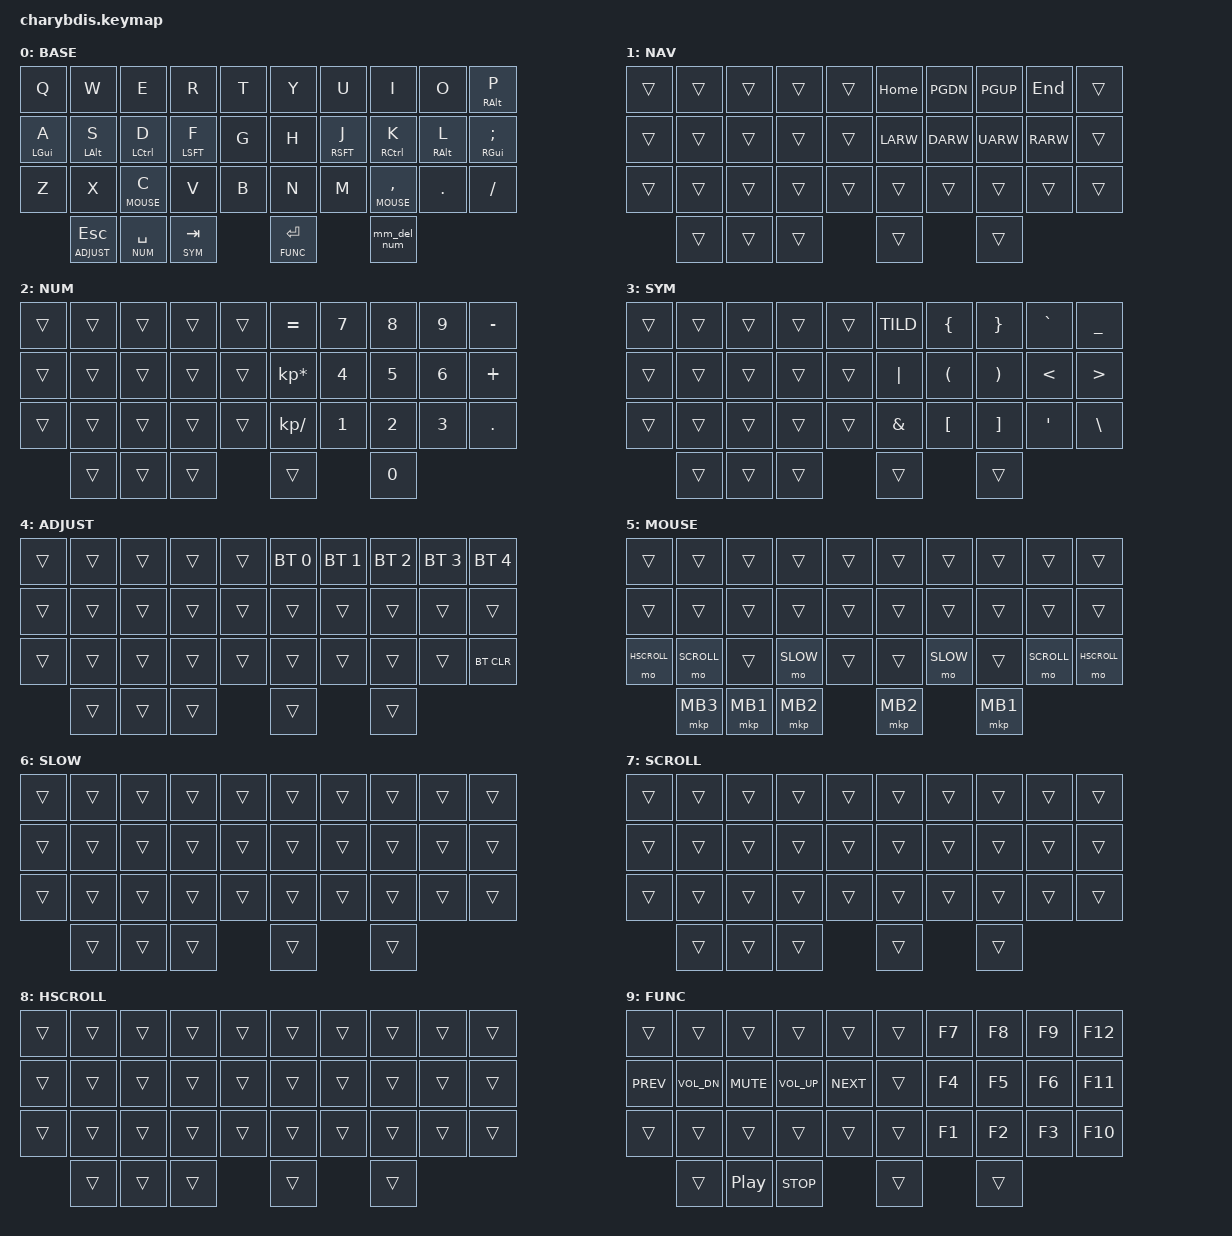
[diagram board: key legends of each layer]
#include <behaviors.dtsi>
#include <dt-bindings/zmk/bt.h>
#include <dt-bindings/zmk/keys.h>
#include <dt-bindings/zmk/mouse.h>
#include <dt-bindings/zmk/outputs.h>
#include <dt-bindings/zmk/input_transform.h>

#include <behaviors/mouse_keys.dtsi>
#include <dt-bindings/zmk/ext_power.h>

#include <input/processors.dtsi>
#include <input/processors/report_rate_limit.dtsi>
#include <input/processors/xyz.dtsi>


#include "zmk-helpers/helper.h"
#include "zmk-helpers/key-labels/36.h"                                      // Source key-labels.
#define KEYS_L LT0 LT1 LT2 LT3 LT4 LM0 LM1 LM2 LM3 LM4 LB0 LB1 LB2 LB3 LB4  // Left-hand keys.
#define KEYS_R RT0 RT1 RT2 RT3 RT4 RM0 RM1 RM2 RM3 RM4 RB0 RB1 RB2 RB3 RB4  // Right-hand keys.
#define THUMBS LH2 LH1 LH0 RH0 RH1 RH2                                      // Thumb keys.


#define BASE    0
#define NAV     1
#define NUM     2
#define SYM     3
#define ADJUST  4

#define MOUSE   5
#define SLOW    6
#define SCROLL  7
#define HSCROLL  8

#define FUNC  9


ZMK_MOD_MORPH(mm_lbracket_brace,
    bindings = <&kp LBKT>, <&kp LBRC>;
    mods = <(MOD_LCTL)>;
)

ZMK_MOD_MORPH(mm_lbracket,
    bindings = <&kp LPRN>, <&mm_lbracket_brace>;
    mods = <(MOD_LSFT)>;
)

ZMK_MOD_MORPH(mm_rbracket_brace,
    bindings = <&kp RBKT>, <&kp RBRC>;
    mods = <(MOD_LCTL)>;
)

ZMK_MOD_MORPH(mm_rbracket,
    bindings = <&kp RPRN>, <&mm_rbracket_brace>;
    mods = <(MOD_LSFT)>;
)

ZMK_MOD_MORPH(mm_del_num,
    bindings = <&lt NAV BSPC>, <&kp DEL>;
    mods = <(MOD_RSFT)>;
)

#include "combos.dtsi" // Must be sourced after HRM-combo hack.


/ {

    xy_transf: xy_transf {
            compatible = "zmk,input-processor-transform";
            #input-processor-cells = <1>;
            type = <INPUT_EV_REL>;
            x-codes = <INPUT_REL_X>, <INPUT_REL_WHEEL>;
            y-codes = <INPUT_REL_Y>, <INPUT_REL_HWHEEL>;
    };
    xy_scaler: xy_scaler {
            compatible = "zmk,input-processor-scaler";
            #input-processor-cells = <2>;
            type = <INPUT_EV_REL>;
            codes = <INPUT_REL_X>, <INPUT_REL_Y>;
            track-remainders;
    };
    x_scaler: x_scaler {
            compatible = "zmk,input-processor-scaler";
            #input-processor-cells = <2>;
            type = <INPUT_EV_REL>;
            codes = <INPUT_REL_X>;
    };
    y_scaler: y_scaler {
        compatible = "zmk,input-processor-scaler";
        #input-processor-cells = <2>;
        type = <INPUT_EV_REL>;
        codes = <INPUT_REL_Y>;
    };
    to_wheel: to_wheel {
            compatible = "zmk,input-processor-code-mapper";
            #input-processor-cells = <0>;
            type = <INPUT_EV_REL>;
            map = <INPUT_REL_X INPUT_REL_HWHEEL>
                , <INPUT_REL_Y INPUT_REL_WHEEL>;
    };


    tball1_il {
            compatible = "zmk,input-listener";
            device = <&trackball>;
            input-processors = <&xy_scaler 3 5>;
            precise {
                    layers = <6>;
                    process-next;
                    input-processors = <&xy_scaler 1 6>;
            };
            scroll {
                    layers = <7>;
                    process-next;
                    input-processors = <&xy_transf (INPUT_TRANSFORM_Y_INVERT)>
                                     , <&xy_scaler 1 64>, <&x_scaler 0 1>
                                     , <&to_wheel>;
            };
            hscroll {
                    layers = <8>;
                    process-next;
                    input-processors = <&xy_transf (INPUT_TRANSFORM_X_INVERT)>
                                     , <&xy_scaler 1 64>, <&y_scaler 0 1>
                                     , <&to_wheel>;
            };
    };


    behaviors {
        hm: homerow_mod {
            compatible = "zmk,behavior-hold-tap";
            #binding-cells = <2>;
            flavor = "tap-preferred";
            tapping-term-ms = <150>; // triggers the hold behavior when the tapping-term-ms has expired
            quick-tap-ms = <100>; // If you press a tapped hold-tap again within quick-tap-ms milliseconds of the first press, it will always trigger the tap behavior.
            //require-prior-idle-ms = <185>; // like quick-tap-ms however it will apply for any non-modifier key pressed before it
            bindings = <&kp>, <&kp>;  // hold, tap
        };
    };

/*                KEY POSITIONS

  ╭────────────────────╮ ╭────────────────────╮
  │  0   1   2   3   4 │ │  5   6   7   8   9 │
  │ 10  11  12  13  14 │ │ 15  16  17  18  19 │
  │ 20  21  22  23  24 │ │ 25  26  27  28  29 │
  ╰───────╮ 30  31  32 │ │ 33  34 ╭───────────╯
          ╰────────────╯ ╰────────╯            */


    keymap {
        compatible = "zmk,keymap";

	BASE {
	    bindings = <
   &kp Q       &kp W      &kp E       &kp R      &kp T         &kp Y  &kp U      &kp I          &kp O      &hm RALT P
   &hm LGUI A  &hm LALT S &hm LCTL D  &hm LSFT F &kp G         &kp H  &hm RSFT J &hm RCTL K     &hm RALT L &hm RGUI SCLN
   &kp Z       &kp X      &lt MOUSE C &kp V      &kp B         &kp N  &kp M      &lt MOUSE CMMA &kp DOT    &kp FSLH
               &lt ADJUST ESC &lt NUM SPC &lt SYM TAB             &lt FUNC RET  &mm_del_num
			>;
	};

	NAV {
	    bindings = <
	&trans &trans &trans &trans &trans         &kp HOME  &kp PGDN &kp PGUP  &kp END  &trans 
	&trans &trans &trans &trans &trans         &kp LARW  &kp DARW &kp UARW  &kp RARW &trans 
	&trans &trans &trans &trans &trans         &trans    &trans   &trans    &trans   &trans 
                      &trans &trans &trans         &trans &trans
			>;
	};


        NUM {
 	     bindings = <
	&trans &trans &trans &trans &trans      &kp EQUAL       &kp NUM_7  &kp NUM_8  &kp NUM_9   &kp MINUS
	&trans &trans &trans &trans &trans      &kp KP_MULTIPLY &kp NUM_4  &kp NUM_5  &kp NUM_6   &kp PLUS
	&trans &trans &trans &trans &trans      &kp KP_DIVIDE   &kp NUM_1  &kp NUM_2  &kp NUM_3   &kp DOT
                      &trans &trans &trans         &trans &kp NUM_0
			>;
	};

	SYM {
	     bindings = <
	&trans &trans &trans &trans &trans       &kp TILD    &kp LBRC  &kp RBRC  &kp GRAVE   &kp UNDERSCORE
	&trans &trans &trans &trans &trans       &kp PIPE    &kp LPAR  &kp RPAR  &kp LT      &kp GT
	&trans &trans &trans &trans &trans       &kp AMPS    &kp LBKT  &kp RBKT  &kp QUOT    &kp BSLH
	         &trans &trans &trans            &trans      &trans
			>;
		};

	ADJUST {
	     bindings = <
    &trans &trans &trans &trans &trans    &bt BT_SEL 0 &bt BT_SEL 1 &bt BT_SEL 2 &bt BT_SEL 3 &bt BT_SEL 4
	&trans &trans &trans &trans &trans                                  &trans &trans &trans &trans &trans
	&trans &trans &trans &trans &trans                              &trans &trans &trans &trans &bt BT_CLR
	                  &trans &trans &trans                              &trans  &trans
			>;
        };

        MOUSE {
            bindings = <
	&trans      &trans     &trans   &trans   &trans            &trans &trans   &trans &trans     &trans
	&trans      &trans     &trans   &trans   &trans            &trans &trans   &trans &trans     &trans
	&mo HSCROLL &mo SCROLL &trans   &mo SLOW &trans            &trans &mo SLOW &trans &mo SCROLL &mo HSCROLL
	            &mkp MB3 &mkp MB1 &mkp MB2           &mkp MB2  &mkp MB1
            >;
        };

        SLOW {
            bindings = <
&trans    &trans    &trans    &trans    &trans    &trans    &trans    &trans    &trans    &trans   
&trans    &trans    &trans    &trans    &trans    &trans    &trans    &trans    &trans    &trans   
&trans    &trans    &trans    &trans    &trans    &trans    &trans    &trans    &trans    &trans  
                    &trans    &trans    &trans    &trans    &trans
            >;
        };

        SCROLL {
            bindings = <
&trans    &trans    &trans    &trans    &trans    &trans    &trans    &trans    &trans    &trans   
&trans    &trans    &trans    &trans    &trans    &trans    &trans    &trans    &trans    &trans   
&trans    &trans    &trans    &trans    &trans    &trans    &trans    &trans    &trans    &trans  
                    &trans    &trans    &trans    &trans    &trans
            >;
        };

        HSCROLL {
            bindings = <
&trans    &trans    &trans    &trans    &trans    &trans    &trans    &trans    &trans    &trans   
&trans    &trans    &trans    &trans    &trans    &trans    &trans    &trans    &trans    &trans   
&trans    &trans    &trans    &trans    &trans    &trans    &trans    &trans    &trans    &trans  
                    &trans    &trans    &trans    &trans    &trans
            >;
        };

        FUNC {
	     bindings = <
    &trans &trans &trans &trans &trans                            &trans &kp F7  &kp F8  &kp F9   &kp F12
    &kp C_PREV &kp C_VOL_DN &kp C_MUTE &kp C_VOL_UP &kp C_NEXT    &trans &kp F4  &kp F5  &kp F6   &kp F11
    &trans &trans &trans &trans &trans                            &trans &kp F1  &kp F2  &kp F3   &kp F10
                          &trans &kp C_PP &kp C_STOP                              &trans  &trans
			>;
        };


    };
};
